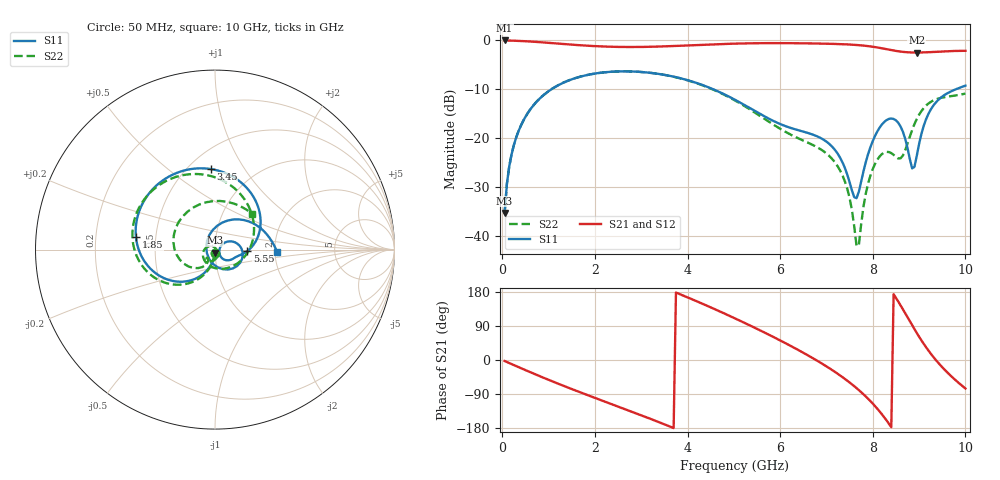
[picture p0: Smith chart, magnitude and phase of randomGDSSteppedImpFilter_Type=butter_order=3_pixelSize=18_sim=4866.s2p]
! freq	dB(S11)	phase(S11)	dB(S12)	phase(S12)
!  dB(S21)	phase(S21)	dB(S22)	phase(S22)
!S-par simulation data
#  GHz  S  DB  R 50
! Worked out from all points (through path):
!   200 points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, 50 MHz to 10 GHz, reference 50 ohm
!   highest |S21| = 0.00 dB at 50 MHz (marker M1); lowest = -2.5 dB at 8.95 GHz (marker M2)
!   lowest |S11| = -35.2 dB at 50 MHz (marker M3), VSWR 1.04, Z = 49.9 - j1.72 ohm
!   |S11| at or under -10 dB: start of sweep to 1.056 GHz; 4.561 GHz to 9.787 GHz (5.226 GHz wide, 72.8 % of centre)
!   |S22| runs from -42.0 to -6.3 dB; largest |S21 - S12| = 0
!   S11 on the Smith chart (normalised r, x): 50 MHz: 1.00, -0.03; 1.85 GHz: 0.39, +0.07; 3.45 GHz: 0.64, +0.72; 5.55 GHz: 1.44, -0.03; 10 GHz: 2.05, -0.05
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0.05  -35.25 -92.8  -0.00 -2.7  -0.00 -2.7  -35.25 -92.5
0.2  -23.27 -101.7  -0.04 -10.8  -0.04 -10.8  -23.27 -100.6
0.5  -15.60 -118.6  -0.16 -26.7  -0.16 -26.7  -15.59 -115.9
1.75  -7.24 176.1  -1.02 -88.4  -1.02 -88.4  -7.23 -174.2
1.85  -7.02 171.2  -1.08 -93.0  -1.08 -93.0  -7.02 -178.5
3.4  -6.87 95.5  -1.24 -164.9  -1.24 -164.9  -6.88 114.2
3.45  -6.94 93.0  -1.23 -167.3  -1.23 -167.3  -6.95 111.9
4.25  -8.86 52.8  -0.92 152.3  -0.92 152.3  -8.91 72.5
5.05  -12.25 15.1  -0.65 108.4  -0.65 108.4  -12.40 25.1
5.55  -14.91 -2.7  -0.56 79.2  -0.56 79.2  -15.32 -12.3
6.1  -17.45 -15.1  -0.55 45.4  -0.55 45.4  -18.58 -64.3
6.7  -19.21 -29.3  -0.61 5.3  -0.61 5.3  -21.32 -129.8
7.35  -24.97 -51.1  -0.77 -45.6  -0.77 -45.6  -27.65 156.3
7.65  -32.21 -0.5  -0.93 -74.2  -0.93 -74.2  -42.01 67.7
7.95  -21.76 32.8  -1.22 -108.6  -1.22 -108.6  -27.57 -73.7
8.35  -16.02 -12.0  -1.88 -168.3  -1.88 -168.3  -22.80 -127.7
8.7  -20.07 -82.0  -2.38 123.5  -2.38 123.5  -22.43 -120.9
8.85  -26.12 -155.8  -2.46 91.8  -2.46 91.8  -18.29 -126.5
8.95  -23.58 131.9  -2.47 71.3  -2.47 71.3  -16.05 -139.5
9.15  -16.11 74.6  -2.43 33.8  -2.43 33.8  -13.31 -172.6
9.4  -12.28 40.5  -2.31 -5.5  -2.31 -5.5  -11.91 143.6
10  -9.23 -1.9  -2.12 -75.1  -2.12 -75.1  -10.85 44.1
